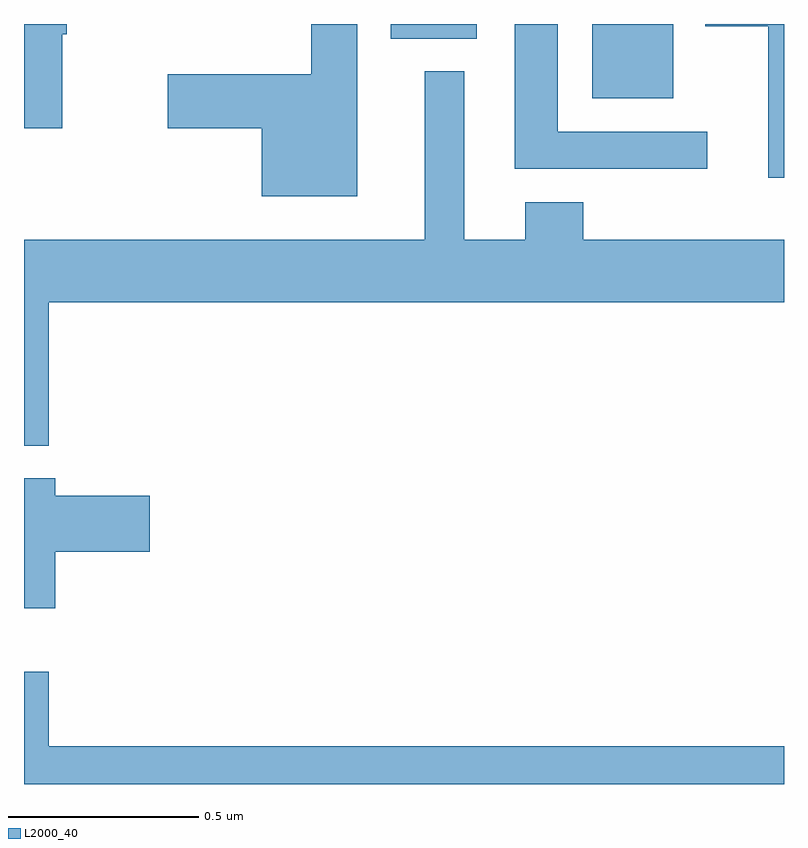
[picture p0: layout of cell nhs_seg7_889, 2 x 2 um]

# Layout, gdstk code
import gdstk
lib = gdstk.Library(unit=1e-6, precision=1e-09)
def R(c, l, rs):  # rectangles x0, y0, x1, y1
    for r in rs: c.add(gdstk.rectangle(r[:2], r[2:], *l))
def P(c, l, *ps):  # polygons
    for p in ps: c.add(gdstk.Polygon(p, *l))
L2000_40 = (2000, 40)

nhs_seg7_889 = lib.new_cell('nhs_seg7_889')
R(nhs_seg7_889, L2000_40, [(124.496,1015.805,124.708,1016), (123.965,1015.961,124.192,1016)])
P(nhs_seg7_889, L2000_40, [(125,1016),(124.793,1016),(124.793,1015.994),(124.958,1015.994),(124.958,1015.596),(125,1015.596)],
  [(123.1,1015.973),(123.113,1015.973),(123.113,1016),(123,1016),(123,1015.726),(123.1,1015.726)],
  [(123.877,1016),(123.756,1016),(123.756,1015.868),(123.378,1015.868),(123.378,1015.726),(123.626,1015.726),(123.626,1015.547),(123.877,1015.547)],
  [(124.798,1015.716),(124.405,1015.716),(124.405,1016),(124.292,1016),(124.292,1015.619),(124.798,1015.619)],
  [(123.065,1015.268),(125,1015.268),(125,1015.432),(124.472,1015.432),(124.472,1015.531),(124.319,1015.531),(124.319,1015.432),(124.159,1015.432),(124.159,1015.876),(124.055,1015.876),(124.055,1015.432),(123,1015.432),(123,1014.89),(123.065,1014.89)],
  [(123.082,1014.611),(123.331,1014.611),(123.331,1014.758),(123.082,1014.758),(123.082,1014.805),(123,1014.805),(123,1014.462),(123.082,1014.462)],
  [(125,1014.1),(123.065,1014.1),(123.065,1014.295),(123,1014.295),(123,1014),(125,1014)])

lib.write_gds('nhs_seg7_889.gds')
